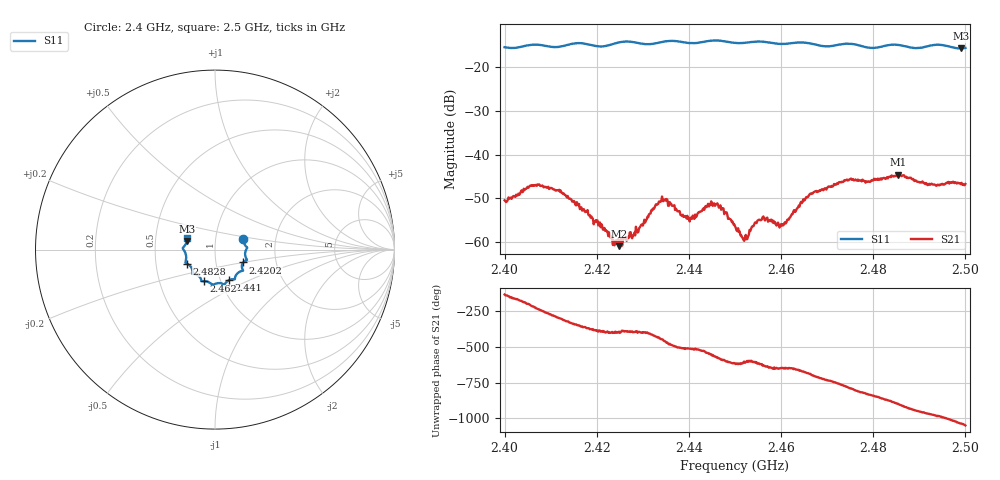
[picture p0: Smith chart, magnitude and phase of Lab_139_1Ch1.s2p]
# Hz S RI R 50
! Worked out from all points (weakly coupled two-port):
!   601 points, 2.4 GHz to 2.5 GHz, reference 50 ohm
!   highest |S21| = -44.62 dB at 2.4853 GHz (marker M1); lowest = -61.0 dB at 2.4248 GHz (marker M2)
!   lowest |S11| = -15.8 dB at 2.499 GHz (marker M3), VSWR 1.39, Z = 36.4 + j3.62 ohm
!   |S11| at or under -10 dB: start of sweep to end of sweep
!   S12 and S22 are empty: the file has one direction only
!   S11 on the Smith chart (normalised r, x): 2.4 GHz: 1.36, +0.17; 2.4202 GHz: 1.35, -0.20; 2.441 GHz: 1.10, -0.39; 2.462 GHz: 0.83, -0.30; 2.4828 GHz: 0.72, -0.12; 2.5 GHz: 0.73, +0.09
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2.4e9  0.157 0.0608  -0.00197 -0.00225  0 0  0 0
2.407667e9  0.1788 0.00876  -0.00222 0.00379  0 0  0 0
2.416667e9  0.1774 -0.0591  0.00248 0.000169  0 0  0 0
2.420167e9  0.1568 -0.0718  0.00155 -0.00084  0 0  0 0
2.424833e9  0.1547 -0.1123  0.00076 -0.000475  0 0  0 0
2.4285e9  0.1483 -0.1194  0.0013 -0.000734  0 0  0 0
2.433333e9  0.1126 -0.152  0.000892 -0.00258  0 0  0 0
2.434667e9  0.1109 -0.1612  -0.000443 -0.00302  0 0  0 0
2.441e9  0.0774 -0.1703  -0.00176 -0.000763  0 0  0 0
2.445833e9  0.0515 -0.1944  -0.00238 0.00129  0 0  0 0
2.45e9  0.0269 -0.1867  -0.000351 0.00147  0 0  0 0
2.452167e9  0.00615 -0.189  -0.000365 0.00106  0 0  0 0
2.455667e9  -0.0136 -0.1948  -0.000284 0.00176  0 0  0 0
2.46e9  -0.0424 -0.1785  0.000465 0.00153  0 0  0 0
2.462e9  -0.0614 -0.1759  0.000668 0.0018  0 0  0 0
2.466667e9  -0.0773 -0.1674  0.00331 0.00141  0 0  0 0
2.474667e9  -0.126 -0.135  0.00209 -0.00464  0 0  0 0
2.482833e9  -0.158 -0.0779  -0.00464 -0.00266  0 0  0 0
2.483333e9  -0.1607 -0.0766  -0.00503 -0.00228  0 0  0 0
2.485333e9  -0.1645 -0.0709  -0.00587 -0.000172  0 0  0 0
2.499e9  -0.1556 0.0484  0.00338 0.00309  0 0  0 0
2.5e9  -0.1532 0.062  0.00404 0.0022  0 0  0 0
